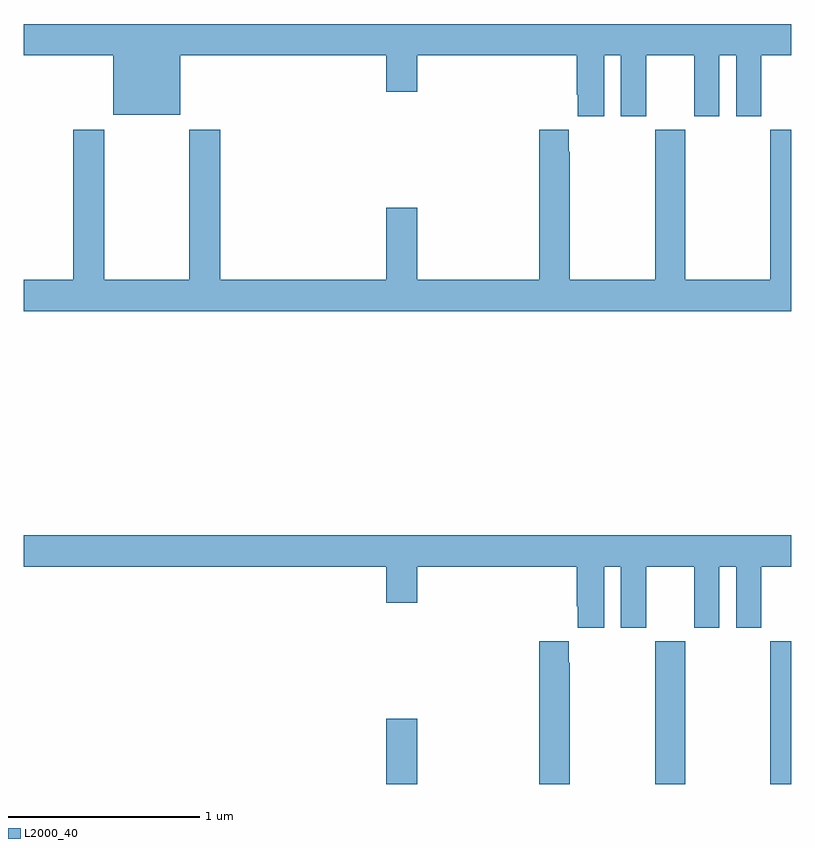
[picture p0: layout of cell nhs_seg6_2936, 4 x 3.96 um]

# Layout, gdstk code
import gdstk
lib = gdstk.Library(unit=1e-6, precision=1e-09)
def R(c, l, rs):  # rectangles x0, y0, x1, y1
    for r in rs: c.add(gdstk.rectangle(r[:2], r[2:], *l))
def P(c, l, *ps):  # polygons
    for p in ps: c.add(gdstk.Polygon(p, *l))
L2000_40 = (2000, 40)

nhs_seg6_2936 = lib.new_cell('nhs_seg6_2936')
R(nhs_seg6_2936, L2000_40, [(284.888,983.5,285.052,983.839), (286.291,983.5,286.446,984.244), (286.891,983.5,287,984.244)])
P(nhs_seg6_2936, L2000_40, [(283,987.296),(283.466,987.296),(283.466,986.987),(283.816,986.987),(283.816,987.296),(284.888,987.296),(284.888,987.108),(285.052,987.108),(285.052,987.296),(285.881,987.296),(285.881,987.091),(285.887,987.091),(285.887,986.979),(286.024,986.979),(286.024,987.296),(286.112,987.296),(286.112,986.979),(286.243,986.979),(286.243,987.296),(286.493,987.296),(286.493,986.979),(286.624,986.979),(286.624,987.296),(286.712,987.296),(286.712,986.979),(286.843,986.979),(286.843,987.296),(287,987.296),(287,987.46),(283,987.46)],
  [(287,986.908),(286.891,986.908),(286.891,986.128),(286.446,986.128),(286.446,986.908),(286.291,986.908),(286.291,986.128),(285.846,986.128),(285.846,986.795),(285.841,986.795),(285.841,986.908),(285.686,986.908),(285.686,986.128),(285.052,986.128),(285.052,986.503),(284.888,986.503),(284.888,986.128),(284.024,986.128),(284.024,986.908),(283.864,986.908),(283.864,986.128),(283.419,986.128),(283.419,986.908),(283.259,986.908),(283.259,986.128),(283,986.128),(283,985.964),(287,985.964)],
  [(286.024,984.632),(286.112,984.632),(286.112,984.315),(286.243,984.315),(286.243,984.632),(286.493,984.632),(286.493,984.315),(286.624,984.315),(286.624,984.632),(286.712,984.632),(286.712,984.315),(286.843,984.315),(286.843,984.632),(287,984.632),(287,984.796),(283,984.796),(283,984.632),(284.888,984.632),(284.888,984.444),(285.052,984.444),(285.052,984.632),(285.881,984.632),(285.881,984.427),(285.887,984.427),(285.887,984.315),(286.024,984.315)],
  [(285.846,984.131),(285.841,984.131),(285.841,984.244),(285.686,984.244),(285.686,983.5),(285.846,983.5)])

lib.write_gds('nhs_seg6_2936.gds')
